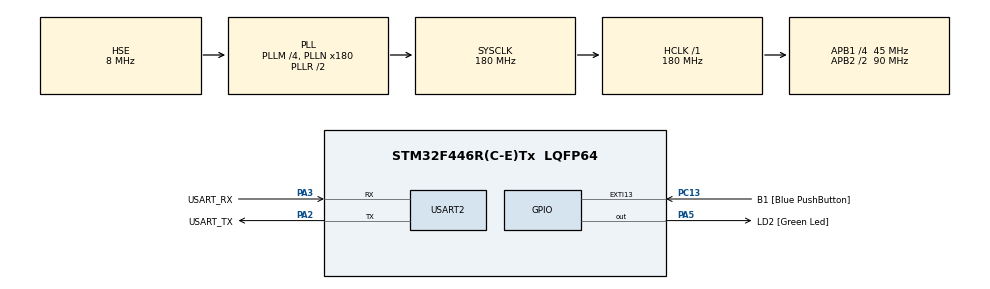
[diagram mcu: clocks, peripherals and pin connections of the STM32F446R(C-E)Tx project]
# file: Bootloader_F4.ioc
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Mcu.Family=STM32F4
Mcu.Name=STM32F446R(C-E)Tx
Mcu.Package=LQFP64
NVIC.PriorityGroup=NVIC_PRIORITYGROUP_0
PA13.GPIO_Label=TMS
PA13.Mode=Serial_Wire
PA13.Signal=SYS_JTMS-SWDIO
PA14.GPIO_Label=TCK
PA14.Mode=Serial_Wire
PA14.Signal=SYS_JTCK-SWCLK
PA2.GPIO_Label=USART_TX
PA2.Mode=Asynchronous
PA2.Signal=USART2_TX
PA3.GPIO_Label=USART_RX
PA3.Mode=Asynchronous
PA3.Signal=USART2_RX
PA5.GPIO_Label=LD2 [Green Led]
PA5.Signal=GPIO_Output
PB3.GPIO_Label=SWO
PB3.Signal=SYS_JTDO-SWO
PC13.GPIO_Label=B1 [Blue PushButton]
PC13.GPIO_ModeDefaultEXTI=GPIO_MODE_IT_FALLING
PC13.Signal=GPXTI13
PC14-OSC32_IN.Mode=LSE-External-Oscillator
PC14-OSC32_IN.Signal=RCC_OSC32_IN
PC15-OSC32_OUT.Mode=LSE-External-Oscillator
PC15-OSC32_OUT.Signal=RCC_OSC32_OUT
PH0-OSC_IN.Mode=HSE-External-Oscillator
PH0-OSC_IN.Signal=RCC_OSC_IN
PH1-OSC_OUT.Mode=HSE-External-Oscillator
PH1-OSC_OUT.Signal=RCC_OSC_OUT
ProjectManager.HeapSize=0x200
ProjectManager.StackSize=0x400
ProjectManager.TargetToolchain=STM32CubeIDE
RCC.48MHZClocksFreq_Value=84000000
RCC.AHBFreq_Value=180000000
RCC.APB1CLKDivider=RCC_HCLK_DIV4
RCC.APB1Freq_Value=45000000
RCC.APB1TimFreq_Value=90000000
RCC.APB2CLKDivider=RCC_HCLK_DIV2
RCC.APB2Freq_Value=90000000
RCC.APB2TimFreq_Value=180000000
RCC.CortexFreq_Value=180000000
RCC.FLatency-AdvancedSettings=FLASH_LATENCY_5
RCC.HCLKFreq_Value=180000000
RCC.HSE_VALUE=8000000
RCC.HSI_VALUE=16000000
RCC.PLLM=4
RCC.PLLN=180
RCC.PLLP=RCC_PLLP_DIV4
RCC.PLLSourceVirtual=RCC_PLLSOURCE_HSE
RCC.SYSCLKFreq_VALUE=180000000
RCC.SYSCLKSource=RCC_SYSCLKSOURCE_PLLRCLK
RCC.USBFreq_Value=180000000
RCC.VCOOutputFreq_Value=360000000
USART2.VirtualMode=VM_ASYNC
board=NUCLEO-F446RE

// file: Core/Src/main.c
/* USER CODE BEGIN Header */
/**
  ******************************************************************************
  * @file           : main.c
  * @brief          : Main program body
  ******************************************************************************
  * @attention
  *
  * Copyright (c) 2022 STMicroelectronics.
  * All rights reserved.
  *
  * This software is licensed under terms that can be found in the LICENSE file
  * in the root directory of this software component.
  * If no LICENSE file comes with this software, it is provided AS-IS.
  *
  ******************************************************************************
  */
/* USER CODE END Header */
#include "main.h"
#include "usart.h"
#include "gpio.h"

/* USER CODE BEGIN PM */

#define MAJOR 0
#define MINOR 1

/* USER CODE END PM */

/* USER CODE BEGIN PV */

const uint8_t bl_version[2] = {MAJOR, MINOR};

/* USER CODE END PV */

void SystemClock_Config(void);
/* USER CODE BEGIN PFP */

static void goto_application( void );

/* USER CODE END PFP */

int main(void)
{

  /* MCU Configuration--------------------------------------------------------*/

  /* Reset of all peripherals, Initializes the Flash interface and the Systick. */
  HAL_Init();

  /* Configure the system clock */
  SystemClock_Config();

  /* Initialize all configured peripherals */
  MX_GPIO_Init();
  MX_USART2_UART_Init();
  /* USER CODE BEGIN 2 */

  debug_printf(WELCOME_MESSAGE);
  debug_printf("Bootloader Version: %d.%d", bl_version[0], bl_version[1]);

  HAL_GPIO_WritePin(LD2_GPIO_Port, LD2_Pin, GPIO_PIN_SET);
  HAL_Delay(500);

  goto_application();
  /* USER CODE END 2 */

  /* Infinite loop */
  while (1)
  {

  }
}

void SystemClock_Config(void)
{
  RCC_OscInitTypeDef RCC_OscInitStruct = {0};
  RCC_ClkInitTypeDef RCC_ClkInitStruct = {0};

  /** Configure the main internal regulator output voltage
  */
  __HAL_RCC_PWR_CLK_ENABLE();
  __HAL_PWR_VOLTAGESCALING_CONFIG(PWR_REGULATOR_VOLTAGE_SCALE1);

  /** Initializes the RCC Oscillators according to the specified parameters
  * in the RCC_OscInitTypeDef structure.
  */
  RCC_OscInitStruct.OscillatorType = RCC_OSCILLATORTYPE_HSE;
  RCC_OscInitStruct.HSEState = RCC_HSE_ON;
  RCC_OscInitStruct.PLL.PLLState = RCC_PLL_ON;
  RCC_OscInitStruct.PLL.PLLSource = RCC_PLLSOURCE_HSE;
  RCC_OscInitStruct.PLL.PLLM = 4;
  RCC_OscInitStruct.PLL.PLLN = 180;
  RCC_OscInitStruct.PLL.PLLP = RCC_PLLP_DIV4;
  RCC_OscInitStruct.PLL.PLLQ = 2;
  RCC_OscInitStruct.PLL.PLLR = 2;
  if (HAL_RCC_OscConfig(&RCC_OscInitStruct) != HAL_OK)
  {
    Error_Handler();
  }

  /** Activate the Over-Drive mode
  */
  if (HAL_PWREx_EnableOverDrive() != HAL_OK)
  {
    Error_Handler();
  }

  /** Initializes the CPU, AHB and APB buses clocks
  */
  RCC_ClkInitStruct.ClockType = RCC_CLOCKTYPE_HCLK|RCC_CLOCKTYPE_SYSCLK
                              |RCC_CLOCKTYPE_PCLK1|RCC_CLOCKTYPE_PCLK2;
  RCC_ClkInitStruct.SYSCLKSource = RCC_SYSCLKSOURCE_PLLRCLK;
  RCC_ClkInitStruct.AHBCLKDivider = RCC_SYSCLK_DIV1;
  RCC_ClkInitStruct.APB1CLKDivider = RCC_HCLK_DIV4;
  RCC_ClkInitStruct.APB2CLKDivider = RCC_HCLK_DIV2;

  if (HAL_RCC_ClockConfig(&RCC_ClkInitStruct, FLASH_LATENCY_5) != HAL_OK)
  {
    Error_Handler();
  }
}

/* USER CODE BEGIN 4 */

static void goto_application( void )
{
	uint32_t nAppAdr = 0x08040000;														//Application Address
	uint32_t mainStackPointer = *(volatile uint32_t *)(nAppAdr); 						// Define stack pointer
	uint32_t programResetHandlerAddress = *(volatile uint32_t *) (nAppAdr + 4); 		// Calculate Application reset handler
	void (* programResetHandler)(void) = (void (*)(void)) programResetHandlerAddress; 	// Define Jump Makro

	debug_printf("Jump to Application\n");

	//Turn off led to show jump
	HAL_GPIO_WritePin(LD2_GPIO_Port, LD2_Pin, GPIO_PIN_RESET);

	//shut down any tasks remaining
	HAL_RCC_DeInit();// to turn off the PLL and set the clock to it's default state
	HAL_DeInit();// to disable all the peripherals

	//to turn off the systick
	SysTick->CTRL = 0;
	SysTick->LOAD = 0;
	SysTick->VAL = 0;

	//disable interrupts
	__disable_irq();
	__DSB();		// Clear all accesses to memory
	__ISB();		// Clear all pending instructions
	__enable_irq();	// enable IRQ for application

	// Prepare MCU to jump
	__set_MSP(mainStackPointer);

	//Jump to application
	programResetHandler();

	//Never reach this
	__builtin_unreachable();
}

/* USER CODE END 4 */

void Error_Handler(void)
{
  __disable_irq();
  while (1)
  {
  }
}
